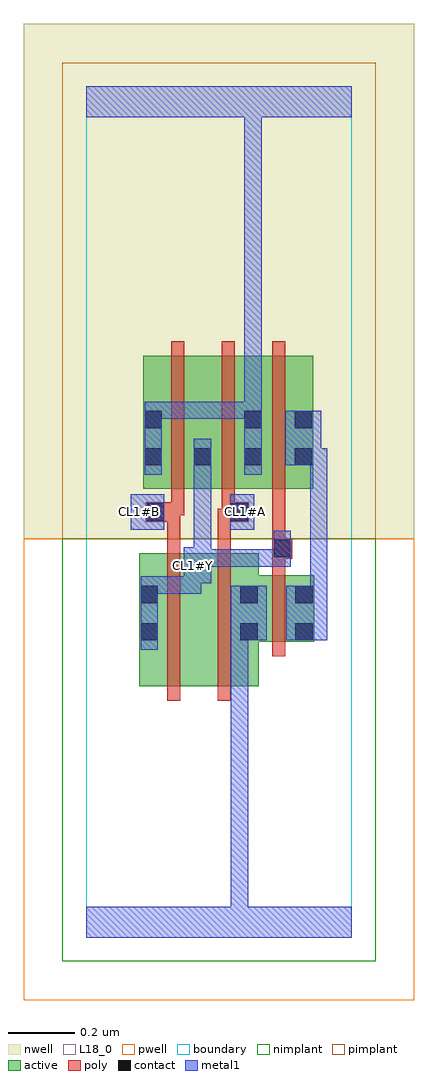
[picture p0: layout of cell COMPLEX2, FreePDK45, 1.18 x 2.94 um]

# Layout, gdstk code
import gdstk
lib = gdstk.Library(unit=1e-6, precision=1e-09)
def R(c, l, rs):  # rectangles x0, y0, x1, y1
    for r in rs: c.add(gdstk.rectangle(r[:2], r[2:], *l))
def A(c, l, x, y, w, h, nx, ny, dx, dy):  # array of equal rectangles
    R(c, l, [(x+i*dx, y+j*dy, x+i*dx+w, y+j*dy+h) for i in range(nx) for j in range(ny)])
active = (1, 0)
pwell = (2, 0)
nwell = (3, 0)
nimplant = (4, 0)
pimplant = (5, 0)
poly = (9, 0)
contact = (10, 0)
metal1 = (11, 0)
L18_0 = (18, 0)
boundary = (235, 0)

complex2 = lib.new_cell('COMPLEX2')
A(complex2, active, 0.32, 1.35, 0.06, 0.294, 3, 1, 0.152, 0)
R(complex2, active, [(0.16,0.756,0.34,1.156), (0.16,0.756,0.22,1.156), (0.34,0.756,0.52,1.156), (0.46,0.756,0.52,1.09), (0.46,0.89,0.686,1.09), (0.626,0.89,0.686,1.09), (0.172,1.35,0.232,1.644), (0.172,1.35,0.38,1.75), (0.32,1.35,0.532,1.75), (0.472,1.35,0.684,1.75)])
R(complex2, pwell, [(-0.188,-0.188,0.988,1.2)])
R(complex2, nwell, [(-0.188,1.2,0.988,2.748)])
R(complex2, nimplant, [(-0.072,-0.072,0.872,1.2)])
R(complex2, pimplant, [(-0.072,1.2,0.872,2.632)])
A(complex2, poly, 0.256, 1.306, 0.04, 0.488, 3, 1, 0.152, 0)
R(complex2, poly, [(0.244,0.712,0.284,1.2), (0.396,0.712,0.436,1.2), (0.56,0.846,0.6,1.134), (0.56,1.094,0.6,1.18), (0.56,1.14,0.62,1.2), (0.244,1.16,0.284,1.29), (0.396,1.16,0.436,1.29), (0.56,1.16,0.6,1.346), (0.56,1.16,0.6,1.2), (0.56,1.16,0.6,1.2), (0.18,1.25,0.284,1.31), (0.396,1.25,0.448,1.29), (0.408,1.25,0.448,1.29), (0.408,1.25,0.49,1.31), (0.244,1.27,0.284,1.31), (0.244,1.27,0.296,1.31), (0.256,1.27,0.296,1.346), (0.408,1.27,0.448,1.346)])
A(complex2, contact, 0.324, 1.42, 0.052, 0.052, 3, 1, 0.152, 0)
R(complex2, contact, [(0.164,0.894,0.216,0.946), (0.464,0.894,0.516,0.946), (0.63,0.894,0.682,0.946), (0.164,1.006,0.216,1.058), (0.464,1.006,0.516,1.058), (0.63,1.006,0.682,1.058), (0.564,1.144,0.616,1.196), (0.184,1.254,0.236,1.306), (0.434,1.254,0.486,1.306), (0.176,1.42,0.228,1.472), (0.176,1.532,0.228,1.584), (0.476,1.532,0.528,1.584), (0.628,1.532,0.68,1.584)])
R(complex2, metal1, [(0,0,0.8,0.092), (0.436,0.04,0.488,0.092), (0.436,0.04,0.488,0.092), (0.436,0.04,0.488,0.092), (0.436,0.04,0.488,0.092), (0.436,0.04,0.488,0.092), (0.436,0.04,0.488,0.092), (0.436,0.04,0.488,0.092), (0.436,0.04,0.488,0.092), (0.436,0.04,0.488,0.092), (0.436,0.04,0.488,0.092), (0.436,0.04,0.488,0.092), (0.436,0.04,0.488,0.092), (0.436,0.04,0.488,0.946), (0.164,0.866,0.216,1.086), (0.436,0.894,0.544,1.058), (0.602,0.894,0.726,1.058), (0.674,1.006,0.726,1.058), (0.674,1.006,0.726,1.058), (0.674,1.006,0.726,1.472), (0.164,1.034,0.216,1.086), (0.164,1.034,0.216,1.086), (0.164,1.034,0.346,1.086), (0.294,1.034,0.346,1.086), (0.294,1.034,0.346,1.118), (0.294,1.066,0.376,1.174), (0.324,1.116,0.376,1.168), (0.324,1.116,0.376,1.168), (0.324,1.116,0.542,1.168), (0.49,1.116,0.542,1.168), (0.49,1.116,0.616,1.168), (0.564,1.116,0.616,1.224), (0.324,1.122,0.376,1.444), (0.134,1.226,0.236,1.334), (0.434,1.226,0.506,1.334), (0.176,1.392,0.228,1.612), (0.324,1.392,0.376,1.444), (0.324,1.392,0.376,1.444), (0.324,1.392,0.376,1.5), (0.476,1.392,0.528,1.612), (0.6,1.42,0.708,1.584), (0.656,1.42,0.708,1.472), (0.656,1.42,0.726,1.472), (0.176,1.56,0.228,1.612), (0.176,1.56,0.228,1.612), (0.176,1.56,0.378,1.612), (0.326,1.56,0.378,1.612), (0.326,1.56,0.378,1.612), (0.326,1.56,0.378,1.612), (0.326,1.56,0.528,1.612), (0.476,1.56,0.528,1.612), (0.476,1.56,0.528,1.612), (0.476,1.56,0.528,1.612), (0.476,1.56,0.528,1.612), (0.476,1.56,0.528,1.612), (0.476,1.56,0.528,1.612), (0.476,1.56,0.528,1.612), (0.476,1.56,0.528,1.612), (0.476,1.56,0.528,1.612), (0.476,1.56,0.528,1.612), (0.476,1.56,0.528,1.612), (0.476,1.56,0.528,1.612), (0.476,1.56,0.528,1.612), (0.476,1.56,0.528,1.612), (0.476,1.56,0.528,2.52), (0,2.468,0.8,2.56), (0.476,2.468,0.528,2.52), (0.476,2.468,0.528,2.52)])
R(complex2, L18_0, [(0,0,0.8,0.092), (0.436,0.04,0.488,0.092), (0.436,0.04,0.488,0.092), (0.436,0.04,0.488,0.092), (0.436,0.04,0.488,0.092), (0.436,0.04,0.488,0.092), (0.436,0.04,0.488,0.092), (0.436,0.04,0.488,0.092), (0.436,0.04,0.488,0.092), (0.436,0.04,0.488,0.092), (0.436,0.04,0.488,0.092), (0.436,0.04,0.488,0.092), (0.436,0.04,0.488,0.092), (0.436,0.04,0.488,0.946), (0.164,0.866,0.216,1.086), (0.436,0.894,0.544,1.058), (0.164,1.034,0.216,1.086), (0.164,1.034,0.216,1.086), (0.164,1.034,0.346,1.086), (0.294,1.034,0.346,1.086), (0.294,1.034,0.346,1.118), (0.294,1.066,0.376,1.174), (0.294,1.094,0.346,1.146), (0.324,1.116,0.376,1.168), (0.324,1.116,0.376,1.168), (0.324,1.116,0.542,1.168), (0.49,1.116,0.542,1.168), (0.49,1.116,0.616,1.168), (0.564,1.116,0.616,1.224), (0.324,1.122,0.376,1.444), (0.134,1.226,0.236,1.334), (0.434,1.226,0.506,1.334), (0.134,1.254,0.186,1.306), (0.454,1.254,0.506,1.306), (0.176,1.392,0.228,1.612), (0.324,1.392,0.376,1.444), (0.324,1.392,0.376,1.444), (0.324,1.392,0.376,1.5), (0.476,1.392,0.528,1.612), (0.176,1.56,0.228,1.612), (0.176,1.56,0.228,1.612), (0.176,1.56,0.378,1.612), (0.326,1.56,0.378,1.612), (0.326,1.56,0.378,1.612), (0.326,1.56,0.378,1.612), (0.326,1.56,0.528,1.612), (0.476,1.56,0.528,1.612), (0.476,1.56,0.528,1.612), (0.476,1.56,0.528,1.612), (0.476,1.56,0.528,1.612), (0.476,1.56,0.528,1.612), (0.476,1.56,0.528,1.612), (0.476,1.56,0.528,1.612), (0.476,1.56,0.528,1.612), (0.476,1.56,0.528,1.612), (0.476,1.56,0.528,1.612), (0.476,1.56,0.528,1.612), (0.476,1.56,0.528,1.612), (0.476,1.56,0.528,1.612), (0.476,1.56,0.528,1.612), (0.476,1.56,0.528,2.52), (0,2.468,0.8,2.56), (0.476,2.468,0.528,2.52), (0.476,2.468,0.528,2.52)])
R(complex2, boundary, [(0,0,0.8,2.56)])
complex2.add(gdstk.Label('CL1#A', (0.48,1.28), layer=11, texttype=0))
complex2.add(gdstk.Label('CL1#B', (0.16,1.28), layer=11, texttype=0))
complex2.add(gdstk.Label('CL1#Y', (0.32,1.12), layer=11, texttype=0))

lib.write_gds('COMPLEX2.gds')
